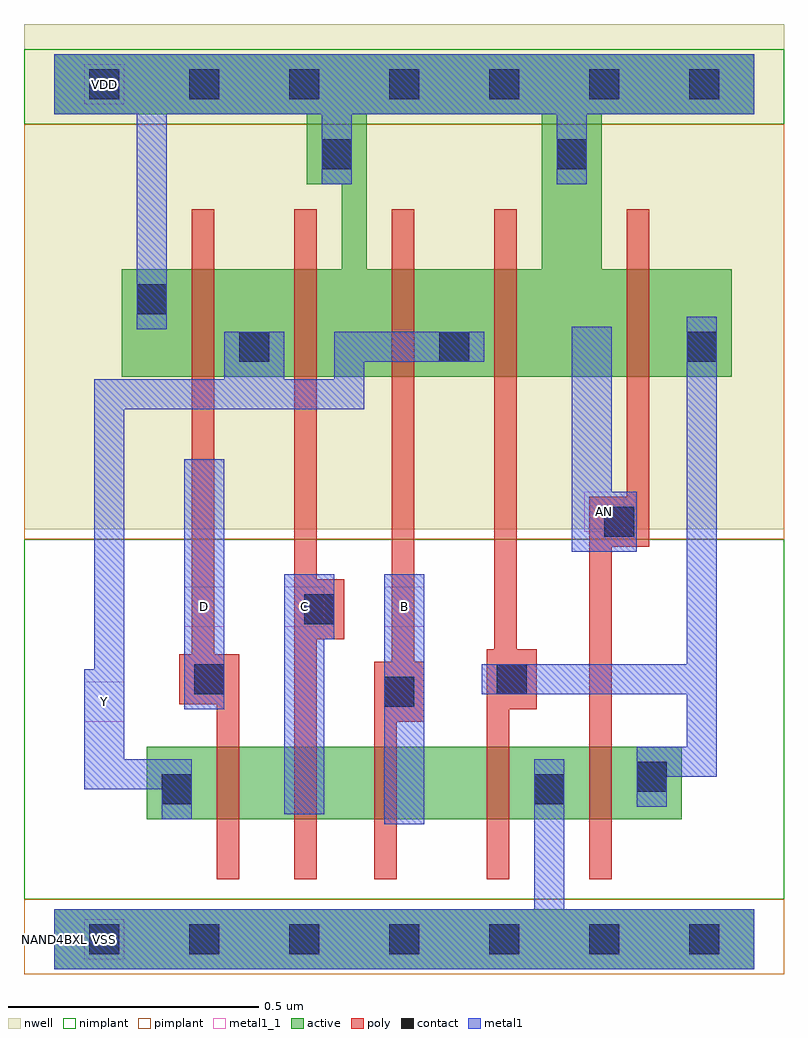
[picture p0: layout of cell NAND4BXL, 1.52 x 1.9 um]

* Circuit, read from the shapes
.subckt NAND4BXL AN B C D VDD VSS Y
M1 n1 D Y VSS nfet w=0.145u l=0.045u
M2 n2 C n1 VSS nfet w=0.145u l=0.045u
M3 n3 B n2 VSS nfet w=0.145u l=0.045u
M4 VSS n4 n3 VSS nfet w=0.145u l=0.045u
M5 n4 AN VSS VSS nfet w=0.145u l=0.045u
M6 Y D VDD VDD pfet w=0.215u l=0.045u
M7 VDD C Y VDD pfet w=0.215u l=0.045u
M8 Y B VDD VDD pfet w=0.215u l=0.045u
M9 VDD n4 Y VDD pfet w=0.215u l=0.045u
M10 n4 AN VDD VDD pfet w=0.215u l=0.045u
.ends

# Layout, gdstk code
import gdstk
lib = gdstk.Library(unit=1e-6, precision=5e-10)
def R(c, l, rs):  # rectangles x0, y0, x1, y1
    for r in rs: c.add(gdstk.rectangle(r[:2], r[2:], *l))
def A(c, l, x, y, w, h, nx, ny, dx, dy):  # array of equal rectangles
    R(c, l, [(x+i*dx, y+j*dy, x+i*dx+w, y+j*dy+h) for i in range(nx) for j in range(ny)])
def P(c, l, *ps):  # polygons
    for p in ps: c.add(gdstk.Polygon(p, *l))
active = (1, 0)
nwell = (2, 0)
poly = (3, 0)
nimplant = (4, 0)
pimplant = (5, 0)
contact = (6, 0)
metal1 = (7, 0)
metal1_1 = (7, 1)

nand4bxl = lib.new_cell('NAND4BXL')
R(nand4bxl, active, [(0,-0.06,1.4,0.06), (0.185,0.24,1.255,0.385)])
P(nand4bxl, active, [(0,1.77),(1.4,1.77),(1.4,1.65),(1.095,1.65),(1.095,1.34),(1.355,1.34),(1.355,1.125),(0.135,1.125),(0.135,1.34),(0.575,1.34),(0.575,1.51),(0.505,1.51),(0.505,1.65),(0.625,1.65),(0.625,1.34),(0.975,1.34),(0.975,1.65),(0,1.65)])
R(nand4bxl, nwell, [(-0.06,0.82,1.46,1.83)])
P(nand4bxl, poly, [(0.275,1.46),(0.32,1.46),(0.32,0.57),(0.37,0.57),(0.37,0.12),(0.325,0.12),(0.325,0.47),(0.25,0.47),(0.25,0.57),(0.275,0.57)],
  [(0.48,1.46),(0.525,1.46),(0.525,0.72),(0.58,0.72),(0.58,0.6),(0.525,0.6),(0.525,0.12),(0.48,0.12)],
  [(0.675,1.46),(0.72,1.46),(0.72,0.555),(0.74,0.555),(0.74,0.435),(0.685,0.435),(0.685,0.12),(0.64,0.12),(0.64,0.555),(0.675,0.555)],
  [(0.88,1.46),(0.925,1.46),(0.925,0.58),(0.965,0.58),(0.965,0.46),(0.91,0.46),(0.91,0.12),(0.865,0.12),(0.865,0.58),(0.88,0.58)],
  [(1.145,1.46),(1.19,1.46),(1.19,0.785),(1.115,0.785),(1.115,0.12),(1.07,0.12),(1.07,0.885),(1.145,0.885)])
R(nand4bxl, nimplant, [(-0.06,0.08,1.46,0.8), (-0.06,1.63,1.46,1.78)])
R(nand4bxl, pimplant, [(-0.06,-0.07,1.46,0.08), (-0.06,0.8,1.46,1.63)])
A(nand4bxl, contact, 0.07, -0.03, 0.06, 0.06, 7, 2, 0.2, 1.71)
R(nand4bxl, contact, [(0.215,0.27,0.275,0.33), (0.96,0.27,1.02,0.33), (1.165,0.295,1.225,0.355), (0.66,0.465,0.72,0.525), (0.28,0.49,0.34,0.55), (0.885,0.49,0.945,0.55), (0.5,0.63,0.56,0.69), (1.1,0.805,1.16,0.865), (0.37,1.155,0.43,1.215), (0.77,1.155,0.83,1.215), (1.265,1.155,1.325,1.215), (0.165,1.25,0.225,1.31), (0.535,1.54,0.595,1.6), (1.005,1.54,1.065,1.6)])
R(nand4bxl, metal1, [(0.66,0.23,0.74,0.73), (0.26,0.46,0.34,0.96)])
P(nand4bxl, metal1, [(0,1.77),(1.4,1.77),(1.4,1.65),(1.065,1.65),(1.065,1.51),(1.005,1.51),(1.005,1.65),(0.595,1.65),(0.595,1.51),(0.535,1.51),(0.535,1.65),(0.225,1.65),(0.225,1.22),(0.165,1.22),(0.165,1.65),(0,1.65)],
  [(1.265,1.245),(1.325,1.245),(1.325,0.325),(1.225,0.325),(1.225,0.265),(1.165,0.265),(1.165,0.385),(1.265,0.385),(1.265,0.49),(0.855,0.49),(0.855,0.55),(1.265,0.55)],
  [(0.34,1.215),(0.46,1.215),(0.46,1.12),(0.56,1.12),(0.56,1.215),(0.86,1.215),(0.86,1.155),(0.62,1.155),(0.62,1.06),(0.14,1.06),(0.14,0.36),(0.275,0.36),(0.275,0.24),(0.215,0.24),(0.215,0.3),(0.06,0.3),(0.06,0.54),(0.08,0.54),(0.08,1.12),(0.34,1.12)],
  [(1.035,1.225),(1.115,1.225),(1.115,0.895),(1.165,0.895),(1.165,0.775),(1.035,0.775)],
  [(0.46,0.73),(0.56,0.73),(0.56,0.6),(0.54,0.6),(0.54,0.25),(0.46,0.25)],
  [(0.96,0.36),(1.02,0.36),(1.02,0.06),(1.4,0.06),(1.4,-0.06),(0,-0.06),(0,0.06),(0.96,0.06)])
A(nand4bxl, metal1_1, 0.26, 0.625, 0.08, 0.08, 3, 1, 0.2, 0)
R(nand4bxl, metal1_1, [(0.06,-0.04,0.14,0.04), (0.06,0.435,0.14,0.515), (1.06,0.815,1.14,0.895), (0.06,1.67,0.14,1.75)])
nand4bxl.add(gdstk.Label('Y', (0.1,0.475), layer=7, texttype=1))
nand4bxl.add(gdstk.Label('AN', (1.1,0.855), layer=7, texttype=1))
nand4bxl.add(gdstk.Label('B', (0.7,0.665), layer=7, texttype=1))
nand4bxl.add(gdstk.Label('C', (0.5,0.665), layer=7, texttype=1))
nand4bxl.add(gdstk.Label('D', (0.3,0.665), layer=7, texttype=1))
nand4bxl.add(gdstk.Label('VDD', (0.1,1.71), layer=7, texttype=1))
nand4bxl.add(gdstk.Label('VSS', (0.1,0), layer=7, texttype=1))
nand4bxl.add(gdstk.Label('NAND4BXL', (0,0), layer=63, texttype=0))

lib.write_gds('NAND4BXL.gds')
